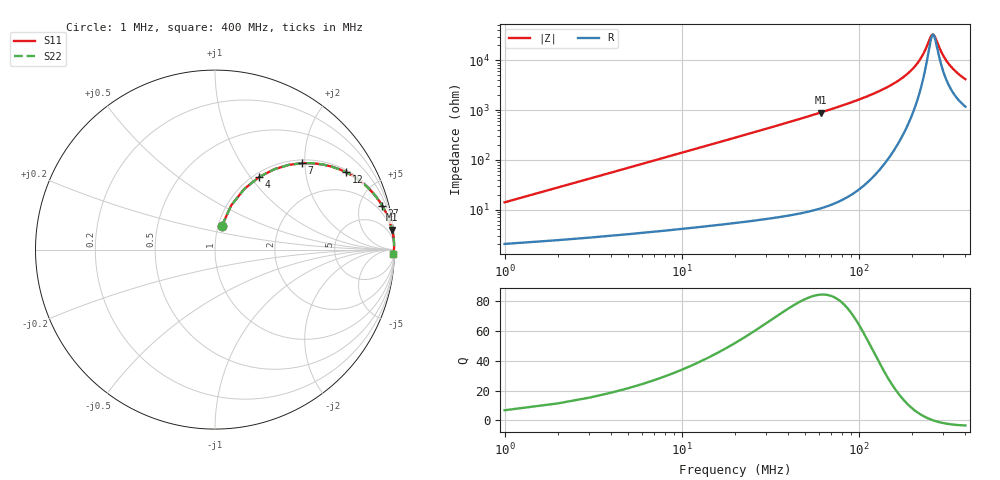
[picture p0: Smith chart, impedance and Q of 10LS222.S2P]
! Coilcraft 1008LS-222 Chip Inductor
! 5 August 2002
# MHZ S MA R 50
!Freq  MagS11  AngS11  MagS21  AngS21  MagS12  AngS12  MagS22  AngS22
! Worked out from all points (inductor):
!   400 points, 1 MHz to 400 MHz, reference 50 ohm
!   read as one part in series: L = 2.2 uH near 3 MHz
!   highest Q = 84.3 at 61 MHz (marker M1), where L = 2.33 uH
!   self-resonance near 263 MHz
!   S11 on the Smith chart (normalised r, x): 1 MHz: 1.04, +0.28; 4 MHz: 1.06, +1.11; 7 MHz: 1.07, +1.94; 12 MHz: 1.09, +3.32; 27 MHz: 1.12, +7.54; 400 MHz: 24, -80
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1  0.1357 73.9  0.9711 -7.7  0.9711 -7.7  0.1357 73.9
2  0.2616 69.9  0.9425 -15.1  0.9425 -15.1  0.2616 69.9
3  0.3752 64.3  0.9027 -22.0  0.9027 -22.0  0.3752 64.3
4  0.4738 58.7  0.8555 -28.2  0.8555 -28.2  0.4738 58.7
7  0.6833 44.8  0.7052 -43.1  0.7052 -43.1  0.6833 44.8
9  0.7682 38.0  0.6165 -50.2  0.6165 -50.2  0.7682 38.0
12  0.8472 30.6  0.5095 -57.9  0.5095 -57.9  0.8472 30.6
18  0.922 21.6  0.3687 -67.2  0.3687 -67.2  0.922 21.6
27  0.9628 14.8  0.2552 -74.3  0.2552 -74.3  0.9628 14.8
42  0.9841 9.5  0.1651 -79.7  0.1651 -79.7  0.9841 9.5
61  0.9925 6.4  0.1113 -82.9  0.1113 -82.9  0.9925 6.4
68  0.994 5.7  0.09861 -83.7  0.09861 -83.7  0.994 5.7
134  0.9981 2.3  0.03982 -86.1  0.03982 -86.1  0.9981 2.3
173  0.9982 1.4  0.02365 -85.0  0.02365 -85.0  0.9982 1.4
201  0.998 0.9  0.015 -81.9  0.015 -81.9  0.998 0.9
228  0.9976 0.4  0.008189 -72.9  0.008189 -72.9  0.9976 0.4
256  0.9971 0.1  0.003261 -27.7  0.003261 -27.7  0.9971 0.1
261  0.997 0.0  0.003027 -8.9  0.003027 -8.9  0.997 0.0
267  0.9969 -0.0  0.003209 13.7  0.003209 13.7  0.9969 -0.0
299  0.9961 -0.4  0.007887 60.4  0.007887 60.4  0.9961 -0.4
334  0.9952 -0.7  0.01374 69.1  0.01374 69.1  0.9952 -0.7
400  0.993 -1.3  0.02385 72.4  0.02385 72.4  0.993 -1.3
